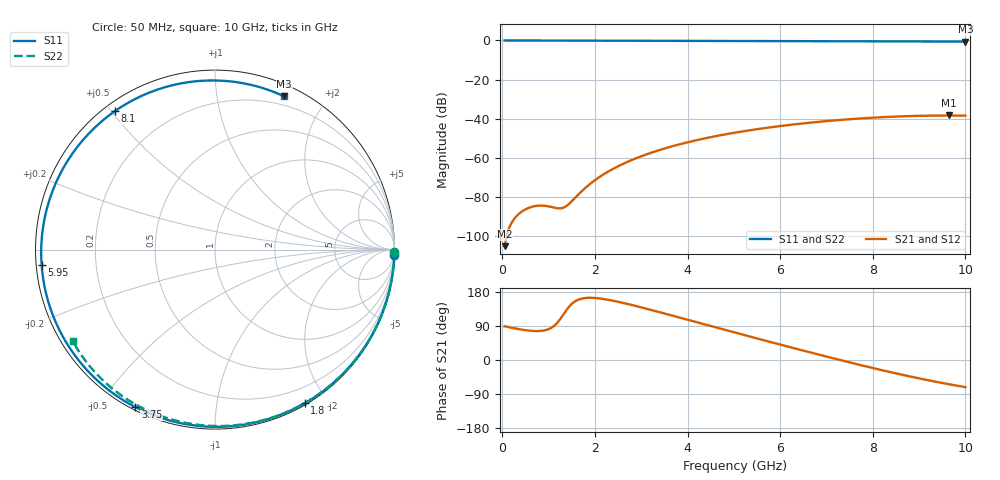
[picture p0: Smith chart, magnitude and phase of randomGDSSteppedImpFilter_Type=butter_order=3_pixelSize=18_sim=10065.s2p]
! freq	dB(S11)	phase(S11)	dB(S12)	phase(S12)
!  dB(S21)	phase(S21)	dB(S22)	phase(S22)
!S-par simulation data
#  GHz  S  DB  R 50
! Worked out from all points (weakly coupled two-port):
!   200 points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, 50 MHz to 10 GHz, reference 50 ohm
!   highest |S21| = -38.28 dB at 9.65 GHz (marker M1); lowest = -104.9 dB at 50 MHz (marker M2)
!   lowest |S11| = -0.6 dB at 10 GHz (marker M3), VSWR 30.52, Z = 5.55 + j77.1 ohm
!   |S11| at or under -10 dB: nowhere
!   |S22| runs from -0.5 to 0.0 dB; largest |S21 - S12| = 0
!   S11 on the Smith chart (normalised r, x): 50 MHz: 0, -66; 1.8 GHz: 0.02, -1.74; 3.75 GHz: 0.01, -0.61; 5.95 GHz: 0.02, -0.04; 8.1 GHz: 0.03, +0.51; 10 GHz: 0.11, +1.54
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0.05  -0.00 -1.7  -104.94 89.0  -104.94 89.0  -0.00 -0.9
0.4  -0.02 -13.6  -87.65 80.5  -87.65 80.5  -0.01 -6.8
0.75  -0.03 -25.4  -84.37 76.3  -84.37 76.3  -0.02 -12.7
1.55  -0.06 -51.7  -80.84 153.0  -80.84 153.0  -0.03 -26.0
1.6  -0.07 -53.3  -79.62 156.7  -79.62 156.7  -0.03 -26.9
1.75  -0.07 -58.1  -76.13 162.8  -76.13 162.8  -0.04 -29.3
1.8  -0.07 -59.7  -75.07 163.6  -75.07 163.6  -0.04 -30.1
2.1  -0.08 -69.0  -69.63 162.4  -69.63 162.4  -0.04 -35.0
2.45  -0.10 -79.7  -64.79 154.9  -64.79 154.9  -0.05 -40.7
2.9  -0.11 -92.9  -60.00 142.0  -60.00 142.0  -0.06 -47.9
3.4  -0.13 -107.1  -55.86 126.1  -55.86 126.1  -0.07 -55.7
3.75  -0.15 -116.8  -53.47 114.6  -53.47 114.6  -0.08 -61.1
4.4  -0.18 -134.3  -49.82 93.0  -49.82 93.0  -0.10 -70.9
5.05  -0.21 -151.4  -46.93 71.5  -46.93 71.5  -0.12 -80.4
5.95  -0.27 -174.9  -43.82 42.3  -43.82 42.3  -0.16 -93.1
6.7  -0.32 165.2  -41.82 18.5  -41.82 18.5  -0.20 -103.4
7.4  -0.37 146.0  -40.36 -3.2  -40.36 -3.2  -0.25 -112.8
8.1  -0.43 125.8  -39.27 -24.0  -39.27 -24.0  -0.30 -122.0
8.35  -0.45 118.3  -38.98 -31.2  -38.98 -31.2  -0.32 -125.3
9  -0.50 98.2  -38.45 -48.6  -38.45 -48.6  -0.39 -133.8
9.65  -0.54 77.3  -38.28 -64.1  -38.28 -64.1  -0.46 -142.5
10  -0.57 65.7  -38.33 -71.6  -38.33 -71.6  -0.52 -147.2
